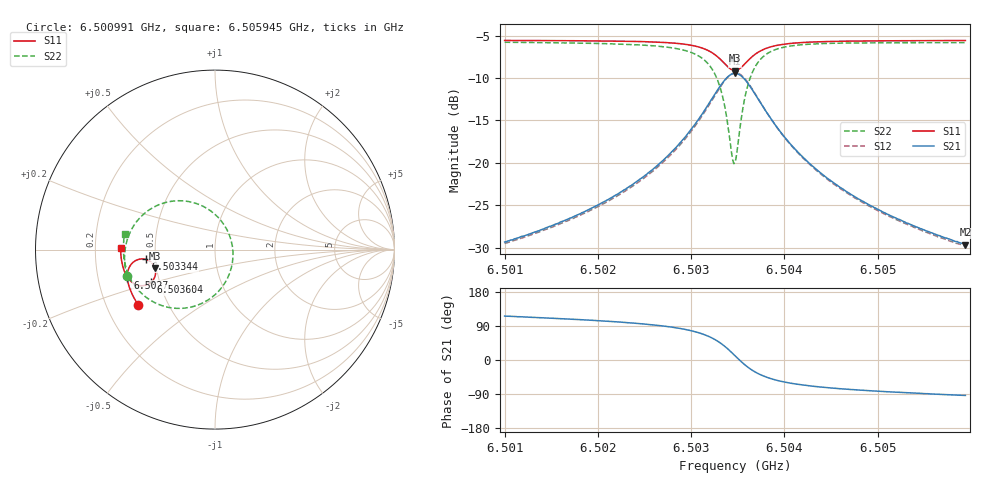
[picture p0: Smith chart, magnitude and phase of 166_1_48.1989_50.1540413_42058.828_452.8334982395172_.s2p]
#  HZ  S  RI  R  50.00
! Rohde & Schwarz Vector Network Analyzer
! Rohde-Schwarz,ZNB20-2Port,1311601062101988,3.16
! Created: UTC 3/20/2024, 11:43:31 AM
! freq[Hz]  re:S11  im:S11  re:S21  im:S21  re:S12  im:S12  re:S22  im:S22
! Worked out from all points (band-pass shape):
!   401 points, 6.500991 GHz to 6.505945 GHz, reference 50 ohm
!   highest |S21| = -9.46 dB at 6.503468 GHz (marker M1); lowest = -29.6 dB at 6.505945 GHz (marker M2)
!   |S21| within 3 dB of the highest: 6.50322 GHz to 6.503716 GHz (495.9 kHz wide, 0.00763 % of centre)
!   lowest |S11| = -9.1 dB at 6.503468 GHz (marker M3), VSWR 2.08, Z = 24.5 - j5.86 ohm
!   |S11| at or under -10 dB: nowhere
!   |S22| runs from -20.1 to -5.8 dB; largest |S21 - S12| = 0.012
!   S11 on the Smith chart (normalised r, x): 6.500991 GHz: 0.34, -0.29; 6.5027 GHz: 0.33, -0.14; 6.503344 GHz: 0.44, -0.06; 6.503604 GHz: 0.45, -0.19; 6.505945 GHz: 0.31, +0.01
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6.5009914e9  -0.4282 -0.3063  -0.0149 0.0307  -0.0131 0.0307  -0.4915 -0.1498
6.5018211e9  -0.4635 -0.2445  -0.0142 0.0488  -0.0118 0.0482  -0.5038 -0.0606
6.5022917e9  -0.4797 -0.2023  -0.0109 0.0691  -0.00783 0.0679  -0.4999 0.0074
6.5026508e9  -0.4879 -0.1622  -0.00174 0.0983  0.0019 0.0959  -0.4797 0.0811
6.5027003e9  -0.4884 -0.1556  0.000752 0.104  0.00441 0.1015  -0.4741 0.0939
6.5029356e9  -0.4851 -0.1188  0.0234 0.1407  0.027 0.1364  -0.4268 0.1678
6.5030966e9  -0.4707 -0.0867  0.0625 0.1766  0.0655 0.1708  -0.3506 0.2313
6.5032451e9  -0.4331 -0.0571  0.1438 0.2053  0.1447 0.1989  -0.2022 0.2723
6.5033442e9  -0.3871 -0.0542  0.2348 0.1886  0.235 0.1837  -0.0447 0.2292
6.5034309e9  -0.3446 -0.083  0.3126 0.1144  0.315 0.1098  0.0794 0.0828
6.5034557e9  -0.3366 -0.0973  0.3257 0.0827  0.3288 0.0776  0.0962 0.023
6.503468e9  -0.3338 -0.1049  0.3301 0.0659  0.3335 0.0603  0.0998 -0.00823
6.5034928e9  -0.3308 -0.1209  0.3334 0.0315  0.3371 0.0246  0.0971 -0.0712
6.50353e9  -0.3331 -0.1448  0.3261 -0.0185  0.3293 -0.0275  0.0698 -0.1595
6.5036043e9  -0.3553 -0.1814  0.2797 -0.0943  0.2793 -0.1055  -0.0399 -0.2813
6.5037157e9  -0.4006 -0.2011  0.1936 -0.139  0.1879 -0.1488  -0.2148 -0.3273
6.5038767e9  -0.4474 -0.1917  0.1102 -0.1353  0.103 -0.1405  -0.3648 -0.2788
6.50405e9  -0.475 -0.1702  0.0648 -0.1147  0.0584 -0.1168  -0.438 -0.2126
6.5042977e9  -0.496 -0.1403  0.0343 -0.0896  0.0295 -0.0902  -0.4819 -0.1392
6.5046568e9  -0.5112 -0.1025  0.0157 -0.0664  0.0121 -0.0661  -0.504 -0.0658
6.5051274e9  -0.5209 -0.0586  0.00505 -0.0489  0.00286 -0.0482  -0.5107 0.00203
6.5059446e9  -0.5259 0.0109  -0.002 -0.0329  -0.00331 -0.0321  -0.503 0.0895
